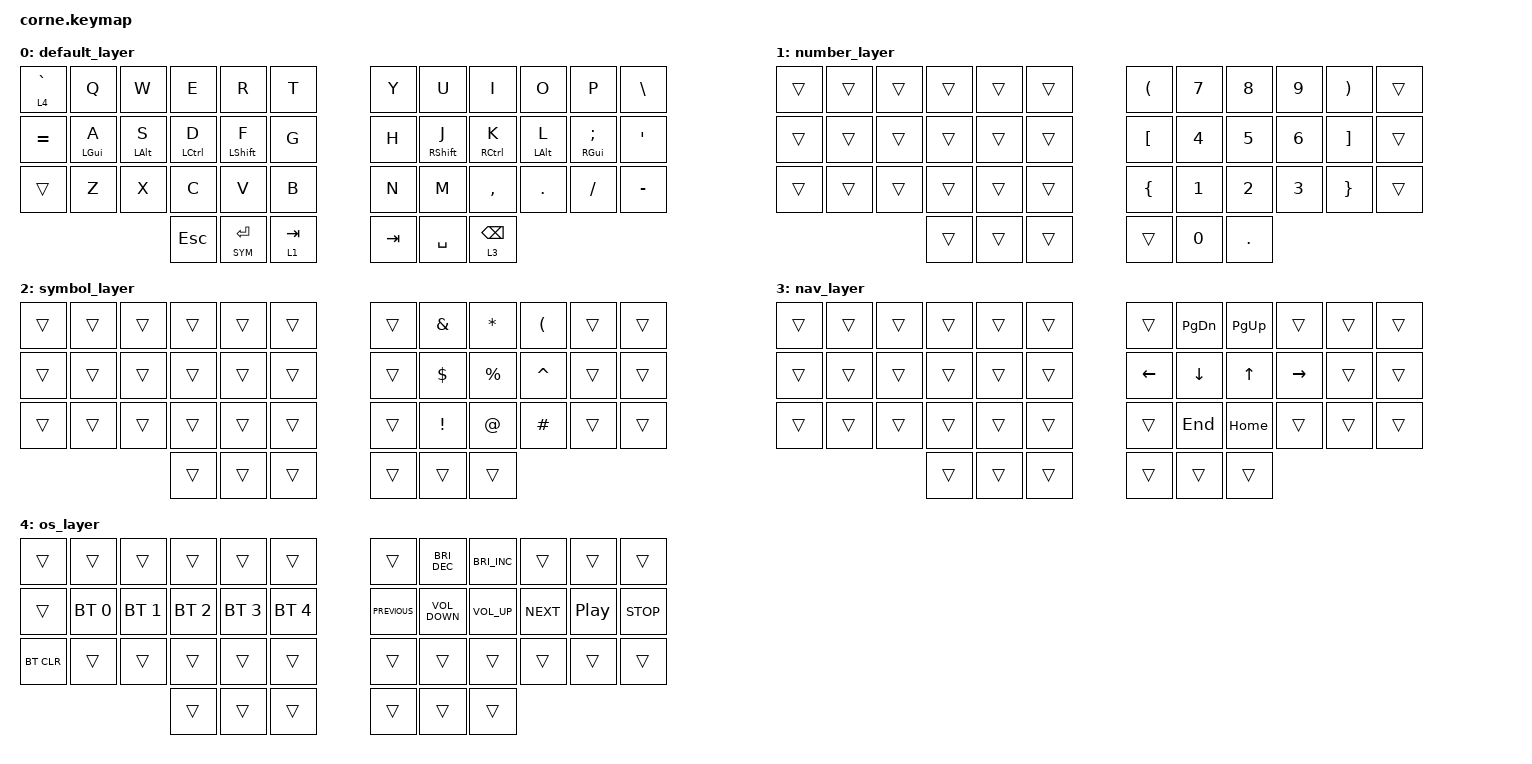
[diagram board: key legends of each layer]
/*
 * Copyright (c) 2020 The ZMK Contributors
 *
 * SPDX-License-Identifier: MIT
 */

#include <behaviors.dtsi>
#include <dt-bindings/zmk/bt.h>
#include <dt-bindings/zmk/keys.h>

// Layer definitions

#define BASE 0
#define NUM 1
#define SYM 2
#define NAV 3
#define OS 4

/ {
    combos {
        compatible = "zmk,combos";
    };

    behaviors {
        hm: homerow_mods {
            compatible = "zmk,behavior-hold-tap";
            label = "HOMEROW_MODS";
            #binding-cells = <2>;
            tapping-term-ms = <200>;
            quick-tap-ms = <0>;
            flavor = "tap-preferred";
            bindings = <&kp>, <&kp>;
        };
    };

    keymap {
        compatible = "zmk,keymap";

        default_layer {
            bindings = <
&lt 4 GRAVE  &kp Q       &kp W       &kp E        &kp R         &kp T        &kp Y    &kp U         &kp I            &kp O       &kp P               &kp BSLH
&kp EQUAL    &hm LGUI A  &hm LALT S  &hm LCTRL D  &hm LSHIFT F  &kp G        &kp H    &hm RSHIFT J  &hm RCTRL K      &hm LALT L  &hm RGUI SEMICOLON  &kp SQT
&trans       &kp Z       &kp X       &kp C        &kp V         &kp B        &kp N    &kp M         &kp COMMA        &kp DOT     &kp FSLH            &kp MINUS
                                     &kp ESC      &lt SYM RET   &lt 1 TAB    &kp TAB  &kp SPACE     &lt 3 BACKSPACE
            >;
        };

        number_layer {
            bindings = <
&trans  &trans  &trans  &trans  &trans  &trans    &kp LPAR  &kp N7  &kp N8      &kp N9  &kp RPAR  &trans
&trans  &trans  &trans  &trans  &trans  &trans    &kp LBKT  &kp N4  &kp N5      &kp N6  &kp RBKT  &trans
&trans  &trans  &trans  &trans  &trans  &trans    &kp LBRC  &kp N1  &kp N2      &kp N3  &kp RBRC  &trans
                        &trans  &trans  &trans    &trans    &kp N0  &kp PERIOD
            >;
        };

        symbol_layer {
            bindings = <
&trans  &trans  &trans  &trans  &trans  &trans    &trans  &kp AMPS  &kp ASTRK  &kp LPAR   &trans  &trans
&trans  &trans  &trans  &trans  &trans  &trans    &trans  &kp DLLR  &kp PRCNT  &kp CARET  &trans  &trans
&trans  &trans  &trans  &trans  &trans  &trans    &trans  &kp EXCL  &kp AT     &kp HASH   &trans  &trans
                        &trans  &trans  &trans    &trans  &trans    &trans
            >;
        };

        nav_layer {
            bindings = <
&trans  &trans  &trans  &trans  &trans  &trans    &trans    &kp PG_DN  &kp PG_UP  &trans     &trans  &trans
&trans  &trans  &trans  &trans  &trans  &trans    &kp LEFT  &kp DOWN   &kp UP     &kp RIGHT  &trans  &trans
&trans  &trans  &trans  &trans  &trans  &trans    &trans    &kp END    &kp HOME   &trans     &trans  &trans
                        &trans  &trans  &trans    &trans    &trans     &trans
            >;
        };

        os_layer {
            bindings = <
&trans      &trans        &trans        &trans        &trans        &trans          &trans          &kp C_BRIGHTNESS_DEC  &kp C_BRIGHTNESS_INC  &trans      &trans            &trans
&trans      &bt BT_SEL 0  &bt BT_SEL 1  &bt BT_SEL 2  &bt BT_SEL 3  &bt BT_SEL 4    &kp C_PREVIOUS  &kp C_VOLUME_DOWN     &kp C_VOLUME_UP       &kp C_NEXT  &kp C_PLAY_PAUSE  &kp C_STOP
&bt BT_CLR  &trans        &trans        &trans        &trans        &trans          &trans          &trans                &trans                &trans      &trans            &trans
                                        &trans        &trans        &trans          &trans          &trans                &trans
            >;
        };
    };
};

